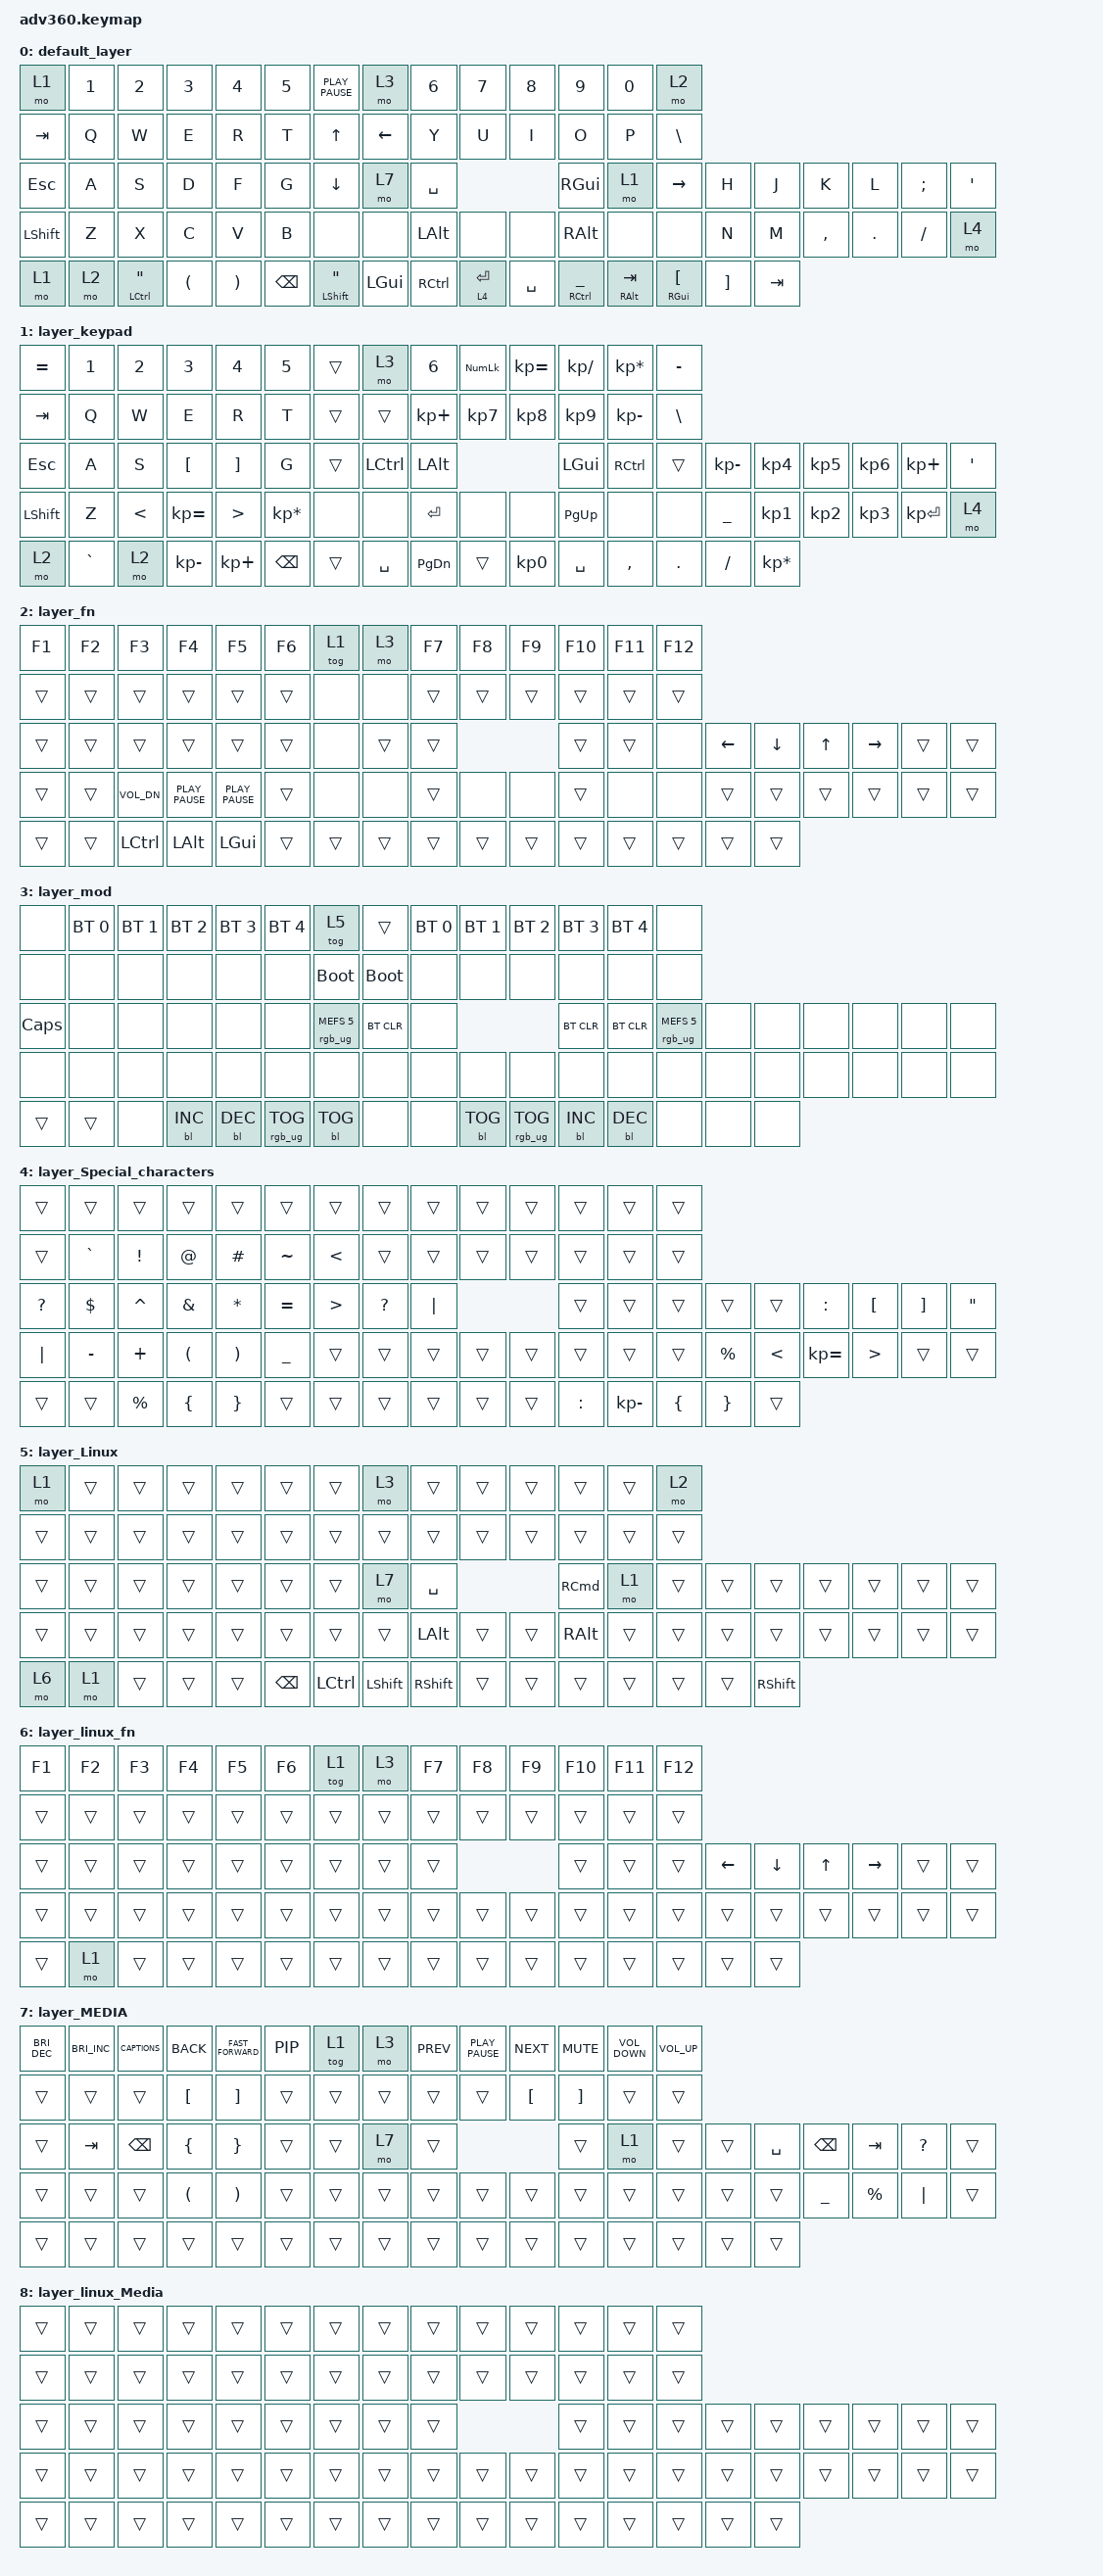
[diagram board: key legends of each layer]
/*
 * Copyright (c) 2020 The ZMK Contributors
 *
 * SPDX-License-Identifier: MIT
 */


/* THIS FILE WAS GENERATED!
 *
 * This file was generated automatically. You may or may not want to
 * edit it directly.
 */

#include <behaviors.dtsi>
#include <dt-bindings/zmk/keys.h>
#include <dt-bindings/zmk/bt.h>
#include <dt-bindings/zmk/rgb.h>
#include <dt-bindings/zmk/stp.h>
#include <dt-bindings/zmk/backlight.h>
#include <dt-bindings/zmk/pointing.h>

/ {
  behaviors {
    #include "macros.dtsi"
    #include "version.dtsi"

	hht:hold-preferred-hold-tap{
        compatible = "zmk,behavior-hold-tap";
		label="HOLD_PREFERRED_HOLD_TAP";
        #binding-cells = <2>;
        tapping-term-ms = <200>;
        quick_tap_ms = <175>;
        flavor = "hold-preferred";
        bindings = <&kp>, <&kp>;
    };
	hhtl:hold-preferred-hold-tap-lt{
        compatible = "zmk,behavior-hold-tap";
		label="HOLD_PREFERRED_HOLD_TAP_LT";
        #binding-cells = <2>;
        tapping-term-ms = <200>;
        quick_tap_ms = <175>;
        flavor = "hold-preferred";
        bindings = <&mo>, <&kp>;
    };
	bht:balanced-hold-tap{
        compatible = "zmk,behavior-hold-tap";
		label="BALANCED_PREFERRED_HOLD_TAP";
        #binding-cells = <2>;
        tapping-term-ms = <200>;
        quick_tap_ms = <175>;
        flavor = "balanced";
        bindings = <&kp>, <&kp>;
    };
	tht:tap-preferred-hold-tap{
        compatible = "zmk,behavior-hold-tap";
		label="TAP_PREFERRED_HOLD_TAP";
        #binding-cells = <2>;
        tapping-term-ms = <150>;
        quick_tap_ms = <175>;
        flavor = "tap-preferred";
        bindings = <&kp>, <&kp>;
    };

  };

    keymap {
        compatible = "zmk,keymap";
        default_layer {
            bindings = <
        &mo 1  &kp N1                          &kp N2                &kp N3          &kp N4         &kp N5              &kp K_PLAY_PAUSE           &mo 3           &kp N6                   &kp N7     &kp N8             &kp N9                               &kp N0                       &mo 2
      &kp TAB   &kp Q                           &kp W                 &kp E           &kp R          &kp T                        &kp UP        &kp LEFT            &kp Y                    &kp U      &kp I              &kp O                                &kp P                    &kp BSLH
      &kp ESC   &kp A                           &kp S                 &kp D           &kp F          &kp G                      &kp DOWN           &mo 7        &kp SPACE                                      &kp RIGHT_GUI                                &mo 1                   &kp RIGHT                   &kp H    &kp J      &kp K    &kp L  &kp SEMI  &kp SQT
 &kp LEFT_SHIFT   &kp Z                           &kp X                 &kp C           &kp V          &kp B                         &none           &none     &kp LEFT_ALT                    &none      &none      &kp RIGHT_ALT                                &none                       &none                   &kp N    &kp M  &kp COMMA  &kp DOT  &kp FSLH    &mo 4
        &mo 1   &mo 2  &mt LEFT_CONTROL DOUBLE_QUOTES  &kp LEFT_PARENTHESIS  &kp RIGHT_PARENTHESIS  &kp BACKSPACE            &hht LEFT_SHIFT DOUBLE_QUOTES
	  	&kp LEFT_GUI  &kp RIGHT_CONTROL  &hhtl 4 ENTER  &kp SPACE          &hht RIGHT_CONTROL UNDERSCORE  &hht RIGHT_ALT TAB  &tht RIGHT_GUI LEFT_BRACKET &kp RIGHT_BRACKET &kp TAB
            >;
        };
        layer_keypad {
            bindings = <
 &kp EQUAL     &kp N1         &kp N2            &kp N3             &kp N4           &kp N5            &trans      &mo 3       &kp N6  &kp KP_NUMLOCK  &kp KP_EQUAL  &kp KP_DIVIDE  &kp KP_MULTIPLY  &kp MINUS
   &kp TAB      &kp Q          &kp W             &kp E              &kp R            &kp T            &trans     &trans  &kp KP_PLUS       &kp KP_N7     &kp KP_N8      &kp KP_N9     &kp KP_MINUS   &kp BSLH
   &kp ESC      &kp A          &kp S  &kp LEFT_BRACKET  &kp RIGHT_BRACKET            &kp G            &trans  &kp LCTRL     &kp LALT                                     &kp LGUI        &kp RCTRL     &trans    &kp KP_MINUS        &kp KP_N4  &kp KP_N5  &kp KP_N6   &kp KP_PLUS  &kp SQT
 &kp LSHFT      &kp Z  &kp LESS_THAN      &kp KP_EQUAL   &kp GREATER_THAN  &kp KP_MULTIPLY             &none      &none    &kp ENTER           &none         &none      &kp PG_UP            &none      &none  &kp UNDERSCORE        &kp KP_N1  &kp KP_N2  &kp KP_N3  &kp KP_ENTER    &mo 4
     &mo 2  &kp GRAVE          &mo 2      &kp KP_MINUS        &kp KP_PLUS         &kp BSPC            &trans  &kp SPACE    &kp PG_DN          &trans     &kp KP_N0      &kp SPACE        &kp COMMA    &kp DOT       &kp SLASH  &kp KP_MULTIPLY
	
            >;
        };

        layer_fn {
            bindings = <
 &kp F1  &kp F2        &kp F3            &kp F4            &kp F5  &kp F6            &tog 1   &mo 3  &kp F7  &kp F8  &kp F9                 &kp F10  &kp F11  &kp F12
 &trans  &trans        &trans            &trans            &trans  &trans             &none   &none  &trans  &trans  &trans  &trans   &trans   &trans
 &trans  &trans        &trans            &trans            &trans  &trans             &none  &trans  &trans                                  &trans   &trans    &none  &kp LEFT  &kp DOWN  &kp UP  &kp RIGHT  &trans  &trans
 &trans  &trans  &kp K_VOL_DN  &kp K_PLAY_PAUSE  &kp K_PLAY_PAUSE  &trans             &none   &none  &trans   &none   &none                  &trans    &none    &none    &trans    &trans  &trans     &trans  &trans  &trans
 &trans  &trans     &kp LCTRL          &kp LALT          &kp LGUI  &trans            &trans  &trans  &trans  &trans  &trans                  &trans   &trans   &trans    &trans    &trans
            >;
        };

        layer_mod {
            bindings = <
        &none  &bt BT_SEL 0  &bt BT_SEL 1  &bt BT_SEL 2  &bt BT_SEL 3     &bt BT_SEL 4                            &tog 5       &trans  &bt BT_SEL 0  &bt BT_SEL 1     &bt BT_SEL 2  &bt BT_SEL 3  &bt BT_SEL 4                   &none
        &none         &none         &none         &none         &none            &none                       &bootloader  &bootloader         &none         &none            &none         &none         &none                   &none
 &kp CAPSLOCK         &none         &none         &none         &none            &none            &rgb_ug RGB_MEFS_CMD 5   &bt BT_CLR         &none                                   &bt BT_CLR    &bt BT_CLR  &rgb_ug RGB_MEFS_CMD 5   &none   &none   &none   &none   &none   &none
        &none         &none         &none         &none         &none            &none                             &none        &none         &none         &none            &none         &none         &none                   &none   &none   &none   &none   &none   &none   &none
       &trans        &trans         &none    &bl BL_INC    &bl BL_DEC  &rgb_ug RGB_TOG                        &bl BL_TOG        &none         &none    &bl BL_TOG  &rgb_ug RGB_TOG    &bl BL_INC    &bl BL_DEC                   &none   &none   &none
            >;
        };

        layer_Special_characters {
            bindings = <
       &trans      &trans           &trans                &trans                 &trans          &trans            &trans        &trans    &trans  &trans  &trans  &trans     &trans        &trans
       &trans   &kp GRAVE  &kp EXCLAMATION           &kp AT_SIGN              &kp POUND       &kp TILDE            &kp LT        &trans    &trans  &trans  &trans  &trans     &trans        &trans
 &kp QUESTION  &kp DOLLAR        &kp CARET         &kp AMPERSAND           &kp ASTERISK       &kp EQUAL            &kp GT  &kp QUESTION  &kp PIPE                  &trans     &trans        &trans             &trans  &trans      &kp COLON  &kp LEFT_BRACKET  &kp RIGHT_BRACKET  &kp DOUBLE_QUOTES
     &kp PIPE   &kp MINUS         &kp PLUS  &kp LEFT_PARENTHESIS  &kp RIGHT_PARENTHESIS  &kp UNDERSCORE            &trans        &trans    &trans  &trans  &trans  &trans     &trans        &trans             &kp PERCENT    &kp LESS_THAN      &kp KP_EQUAL   &kp GREATER_THAN         &trans  &trans
       &trans      &trans      &kp PERCENT        &kp LEFT_BRACE        &kp RIGHT_BRACE          &trans            &trans        &trans    &trans  &trans  &trans  &kp COLON  &kp KP_MINUS  &kp LEFT_BRACE  &kp RIGHT_BRACE &trans
            >;
        };

        layer_Linux {
            bindings = <
  &mo 1  &trans  &trans  &trans  &trans         &trans               &trans           &mo 3           &trans  &trans  &trans             &trans  &trans   &mo 2
 &trans  &trans  &trans  &trans  &trans         &trans               &trans          &trans           &trans  &trans  &trans             &trans  &trans  &trans
 &trans  &trans  &trans  &trans  &trans         &trans               &trans           &mo 7        &kp SPACE                  &kp RIGHT_COMMAND   &mo 1  &trans  &trans           &trans  &trans  &trans  &trans  &trans
 &trans  &trans  &trans  &trans  &trans         &trans               &trans          &trans     &kp LEFT_ALT  &trans  &trans      &kp RIGHT_ALT  &trans  &trans  &trans           &trans  &trans  &trans  &trans  &trans
  &mo 6   &mo 1  &trans  &trans  &trans  &kp BACKSPACE            &kp LCTRL  &kp LEFT_SHIFT  &kp RIGHT_SHIFT  &trans  &trans             &trans  &trans  &trans  &trans  &kp RIGHT_SHIFT
            >;
        };

        layer_linux_fn {
            bindings = <
 &kp F1  &kp F2  &kp F3                 &kp F4  &kp F5  &kp F6            &tog 1   &mo 3  &kp F7  &kp F8  &kp F9                       &kp F10  &kp F11  &kp F12
 &trans  &trans  &trans                 &trans  &trans  &trans            &trans  &trans  &trans  &trans  &trans  &trans   &trans   &trans
 &trans  &trans  &trans                 &trans  &trans  &trans            &trans  &trans  &trans                                        &trans   &trans   &trans  &kp LEFT  &kp DOWN  &kp UP  &kp RIGHT  &trans  &trans
 &trans  &trans  &trans  &trans  &trans  &trans            &trans  &trans  &trans  &trans  &trans                        &trans   &trans   &trans    &trans    &trans  &trans     &trans  &trans  &trans
 &trans   &mo 1  &trans                 &trans  &trans  &trans            &trans  &trans  &trans  &trans  &trans                        &trans   &trans   &trans    &trans    &trans
            >;
        };

        layer_MEDIA {
            bindings = <
 &kp C_BRIGHTNESS_DEC  &kp C_BRIGHTNESS_INC   &kp C_CAPTIONS            &kp K_BACK     &kp C_FAST_FORWARD  &kp C_PIP            &tog 1   &mo 3  &kp K_PREV  &kp K_PLAY_PAUSE        &kp K_NEXT         &kp C_MUTE   &kp C_VOLUME_DOWN  &kp C_VOLUME_UP
               &trans                &trans  &trans      &kp LEFT_BRACKET      &kp RIGHT_BRACKET     &trans            &trans  &trans      &trans            &trans  &kp LEFT_BRACKET  &kp RIGHT_BRACKET  &trans           &trans
               &trans               &kp TAB    &kp BACKSPACE        &kp LEFT_BRACE        &kp RIGHT_BRACE     &trans            &trans   &mo 7      &trans                                                 &trans               &mo 1           &trans  &trans  &kp SPACE   &kp BACKSPACE      &kp TAB  &kp QUESTION  &trans
               &trans                &trans           &trans  &kp LEFT_PARENTHESIS  &kp RIGHT_PARENTHESIS     &trans            &trans  &trans      &trans            &trans            &trans             &trans              &trans           &trans  &trans     &trans  &kp UNDERSCORE  &kp PERCENT      &kp PIPE  &trans
               &trans                &trans           &trans                &trans                 &trans     &trans            &trans  &trans      &trans            &trans            &trans             &trans              &trans           &trans  &trans     &trans
            >;
        };

        layer_linux_Media {
            bindings = <
 &trans  &trans  &trans                 &trans                  &trans  &trans            &trans  &trans  &trans  &trans  &trans  &trans  &trans  &trans
 &trans  &trans  &trans                 &trans                  &trans  &trans            &trans  &trans  &trans  &trans  &trans  &trans  &trans  &trans
 &trans  &trans  &trans                 &trans                  &trans  &trans            &trans  &trans  &trans                  &trans  &trans  &trans  &trans  &trans  &trans  &trans  &trans  &trans
 &trans  &trans  &trans  &trans  &trans  &trans            &trans  &trans  &trans  &trans  &trans  &trans  &trans  &trans  &trans  &trans  &trans  &trans  &trans  &trans
 &trans  &trans  &trans                 &trans                  &trans  &trans            &trans  &trans  &trans  &trans  &trans  &trans  &trans  &trans  &trans  &trans
            >;
        };

    };
};
